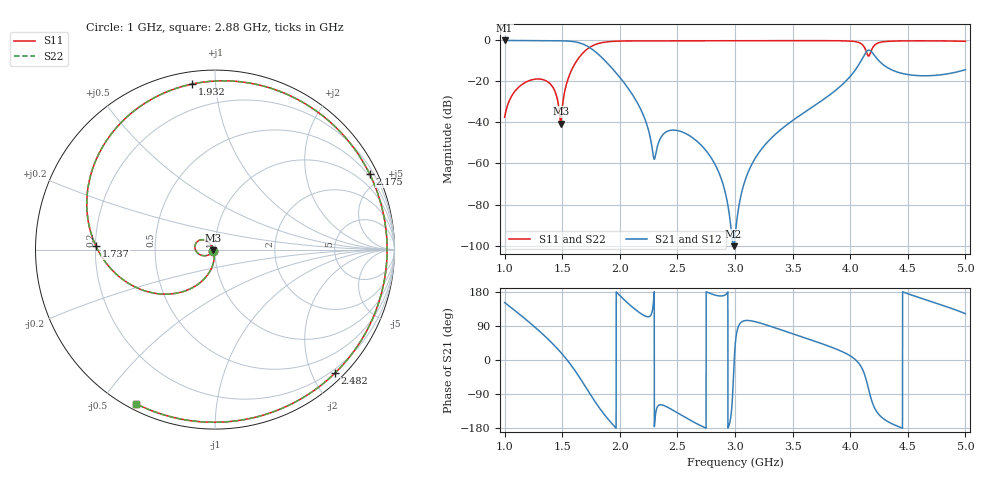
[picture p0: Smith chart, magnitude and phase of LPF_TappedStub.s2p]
! Touchstone file from project ECEN_425_Project2MELANIE
! Exported from Circuit Design 2017.1.0
# GHZ S MA R 50.000000
! Modal data exported
! Port[1] = 1
! Port[2] = 2
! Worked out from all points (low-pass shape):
!   4001 points, 1 GHz to 5 GHz, reference 50 ohm
!   highest |S21| = -0.15 dB at 1 GHz (marker M1); lowest = -100.3 dB at 2.987 GHz (marker M2)
!   |S21| within 3 dB of the highest: start of sweep to 1.725 GHz
!   lowest |S11| = -40.6 dB at 1.487 GHz (marker M3), VSWR 1.02, Z = 49.1 - j0.307 ohm
!   |S11| at or under -10 dB: start of sweep to 1.627 GHz
!   |S22| runs from -40.6 to -0.2 dB; largest |S21 - S12| = 2e-13
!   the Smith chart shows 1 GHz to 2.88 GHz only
!   S11 on the Smith chart (normalised r, x): 1 GHz: 0.98, -0.02; 1.737 GHz: 0.20, +0.01; 1.932 GHz: 0.06, +0.87; 2.175 GHz: 0.41, +4.31; 2.482 GHz: 0.14, -2.35; 2.88 GHz: 0.02, -0.61
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1  0.01325 -138.7  0.983 151.7  0.983 151.7  0.01325 -138.7
! Port Impedance50 0 50 0
1.286  0.1134 169.1  0.9688 80.6  0.9688 80.6  0.1134 169.1
1.413  0.07561 136.6  0.9661 44.3  0.9661 44.3  0.07561 136.6
1.487  0.009361 -160.5  0.9628 20.3  0.9628 20.3  0.009361 -160.5
1.556  0.1256 -103.3  0.9463 -5.2  0.9463 -5.2  0.1256 -103.3
1.667  0.4459 -148.5  0.8279 -53.8  0.8279 -53.8  0.4459 -148.5
1.737  0.6636 178.4  0.6633 -87.5  0.6633 -87.5  0.6636 178.4
1.932  0.9311 98.0  0.2081 -168.0  0.2081 -168.0  0.9311 98.0
2.175  0.959 25.9  0.02262 124.1  0.02262 124.1  0.959 25.9
2.294  0.9589 -3.9  0.001367 159.6  0.001367 159.6  0.9589 -3.9
2.334  0.9589 -13.3  0.003073 -120.5  0.003073 -120.5  0.9589 -13.3
2.482  0.9592 -45.9  0.006434 -136.3  0.006434 -136.3  0.9592 -45.9
2.88  0.9651 -117.2  0.0004278 168.8  0.0004278 168.8  0.9651 -117.2
2.987  0.9671 -133.0  9.685e-06 -41.0  9.685e-06 -41.0  0.9671 -133.0
3  0.9674 -134.8  1.633e-05 33.4  1.633e-05 33.4  0.9674 -134.8
3.237  0.9714 -165.6  0.002359 95.9  0.002359 95.9  0.9714 -165.6
3.667  0.9747 147.4  0.02311 52.2  0.02311 52.2  0.9747 147.4
4.039  0.9247 104.6  0.1796 2.5  0.1796 2.5  0.9247 104.6
4.153  0.4243 96.9  0.5613 -68.6  0.5613 -68.6  0.4243 96.9
4.211  0.7507 124.4  0.424 -126.2  0.424 -126.2  0.7507 124.4
4.334  0.9392 101.9  0.2061 -163.8  0.2061 -163.8  0.9392 101.9
5  0.9377 35.7  0.191 122.2  0.191 122.2  0.9377 35.7
